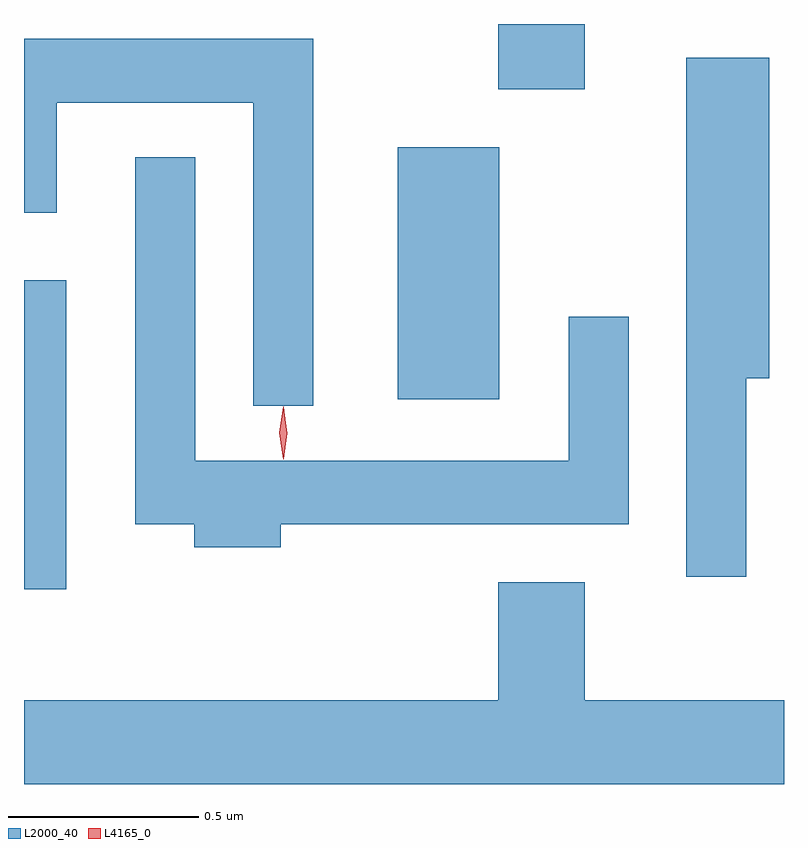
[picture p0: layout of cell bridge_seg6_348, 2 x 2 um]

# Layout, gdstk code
import gdstk
lib = gdstk.Library(unit=1e-6, precision=1e-09)
def R(c, l, rs):  # rectangles x0, y0, x1, y1
    for r in rs: c.add(gdstk.rectangle(r[:2], r[2:], *l))
def P(c, l, *ps):  # polygons
    for p in ps: c.add(gdstk.Polygon(p, *l))
L2000_40 = (2000, 40)
L4165_0 = (4165, 0)

bridge_seg6_348 = lib.new_cell('bridge_seg6_348')
R(bridge_seg6_348, L2000_40, [(1322.053,1539.496,1322.164,1540.309), (1323.036,1539.996,1323.304,1540.659), (1323.301,1540.811,1323.529,1540.983)])
P(bridge_seg6_348, L2000_40, [(1322.814,1540.944),(1322.053,1540.944),(1322.053,1540.486),(1322.139,1540.486),(1322.139,1540.776),(1322.656,1540.776),(1322.656,1539.978),(1322.814,1539.978)],
  [(1323.954,1540.051),(1324.014,1540.051),(1324.014,1540.894),(1323.796,1540.894),(1323.796,1539.528),(1323.954,1539.528)],
  [(1322.729,1539.666),(1323.644,1539.666),(1323.644,1540.213),(1323.486,1540.213),(1323.486,1539.834),(1322.504,1539.834),(1322.504,1540.633),(1322.346,1540.633),(1322.346,1539.666),(1322.501,1539.666),(1322.501,1539.606),(1322.729,1539.606)],
  [(1323.301,1539.514),(1323.301,1539.204),(1322.053,1539.204),(1322.053,1538.983),(1324.053,1538.983),(1324.053,1539.204),(1323.529,1539.204),(1323.529,1539.514)])
P(bridge_seg6_348, L4165_0, [(1322.735,1539.837),(1322.735,1539.838),(1322.725,1539.907),(1322.735,1539.976),(1322.735,1539.976),(1322.736,1539.976),(1322.745,1539.907),(1322.736,1539.838)],
  [(1322.736,1539.839),(1322.735,1539.84),(1322.726,1539.906),(1322.735,1539.972),(1322.736,1539.973),(1322.736,1539.972),(1322.746,1539.906),(1322.736,1539.84)])

lib.write_gds('bridge_seg6_348.gds')
